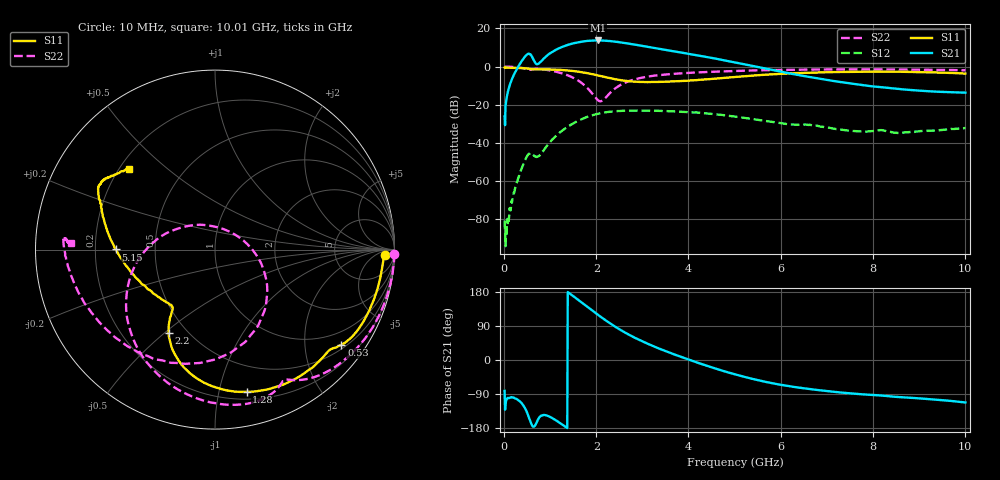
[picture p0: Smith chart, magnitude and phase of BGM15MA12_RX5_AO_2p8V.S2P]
!Agilent Technologies,E5071C,MY46317100,A.11.08
!Date: Fri Dec 19 16:36:44 2014
!Data & Calibration Information:
!Freq	S11:SOLT2(ON)	S21:SOLT2(ON)	S12:SOLT2(ON)	S22:SOLT2(ON)
!PortZ  Port1:50+j0  Port2:50+j0
!Above PortZ is port z conversion or system Z0 setting when saving the data.
!When reading, reference impedance value at option line is always used.
# Hz S RI R 50
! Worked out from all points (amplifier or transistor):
!   1001 points, 10 MHz to 10.01 GHz, reference 50 ohm
!   highest |S21| = 13.7 dB at 2.03 GHz (marker M1)
!   |S21| within 3 dB of that: 1.3 GHz to 3.034 GHz (1.734 GHz wide, 80 % of centre)
!   unconditionally stable (mu >= 1): start of sweep to end of sweep
!   at 1.67 GHz: K = 1.47, MAG = 16.3 dB, |S12| = -27.6 dB
!   at 5.01 GHz: K = 2.49, MAG = 7.4 dB, |S12| = -26.2 dB
!   at 10.01 GHz: K = 19.84, MAG = -6.7 dB, |S12| = -32.2 dB
!   lowest NFmin = 1.01 dB at 1.45 GHz
!   S11 on the Smith chart (normalised r, x): 10 MHz: 28, -16; 530 MHz: 0.60, -2.88; 1.28 GHz: 0.26, -1.21; 2.2 GHz: 0.40, -0.51; 5.15 GHz: 0.29, +0.00; 10.01 GHz: 0.24, +0.38
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1e7  0.9472 -0.03  0.00754 -0.0493  7.53e-05 -5.38e-05  0.9992 -0.0227
1.2e8  0.9244 -0.1384  -0.0558 -0.3185  -0.00018 7.77e-05  0.9574 -0.2606
3.2e8  0.8547 -0.3487  -0.3135 -1.02  -0.00131 0.000145  0.7248 -0.6114
4.5e8  0.7752 -0.473  -1.084 -1.469  -0.00323 0.00108  0.5052 -0.7224
5.3e8  0.7044 -0.5306  -1.872 -1.109  -0.00406 0.00309  0.402 -0.724
6.4e8  0.6322 -0.5649  -1.495 -0.1067  -0.00235 0.00412  0.3219 -0.7987
8e8  0.5496 -0.6508  -1.151 -0.7409  -0.00423 0.00305  0.0462 -0.8626
1.03e9  0.3812 -0.7519  -2.099 -1.096  -0.0101 0.00614  -0.2825 -0.7268
1.28e9  0.1759 -0.7927  -3.33 -0.4658  -0.0156 0.0155  -0.473 -0.4481
1.49e9  0.0101 -0.7692  -3.994 0.7525  -0.0165 0.0277  -0.4815 -0.1869
1.68e9  -0.1162 -0.707  -3.988 2.13  -0.0121 0.0403  -0.3742 0.0107
2.03e9  -0.2431 -0.5388  -2.411 4.213  0.00982 0.057  -0.0213 0.1316
2.2e9  -0.2589 -0.4622  -1.226 4.616  0.0237 0.0588  0.1366 0.067
2.43e9  -0.2521 -0.3885  0.2828 4.48  0.0411 0.0543  0.2638 -0.0935
2.74e9  -0.2367 -0.3358  1.691 3.579  0.0572 0.041  0.2799 -0.326
3.35e9  -0.2696 -0.294  2.537 1.51  0.0683 0.0112  0.0408 -0.5947
4.15e9  -0.3907 -0.2016  2.014 -0.1788  0.0602 -0.0189  -0.3625 -0.5986
5.01e9  -0.5345 -0.0317  1.022 -0.794  0.0367 -0.0325  -0.672 -0.3714
5.15e9  -0.553 0.000717  0.8834 -0.8081  0.0333 -0.0327  -0.7028 -0.3296
6.68e9  -0.64 0.2701  0.1136 -0.5099  0.0153 -0.0243  -0.8387 -0.00664
8.35e9  -0.6344 0.3722  -0.0275 -0.2747  0.0122 -0.0154  -0.8373 0.0613
1.001e10  -0.4768 0.451  -0.0784 -0.1928  0.0197 -0.0148  -0.8025 0.0371
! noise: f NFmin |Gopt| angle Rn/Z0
1.45e+09  1.011  0.3375  77.01  0.2119
1.5e+09  1.033  0.2943  79.83  0.2099
1.7e+09  1.058  0.3163  83.14  0.2095
1.85e+09  1.085  0.3757  86.72  0.1715
1.9e+09  1.094  0.3655  89.33  0.1766
2.1e+09  1.104  0.3612  93.91  0.1739
2.3e+09  1.17  0.3739  100.3  0.1566
2.4e+09  1.152  0.3904  102.1  0.1512
2.6e+09  1.209  0.387  109.8  0.1438
2.75e+09  1.264  0.3887  112.8  0.1398
